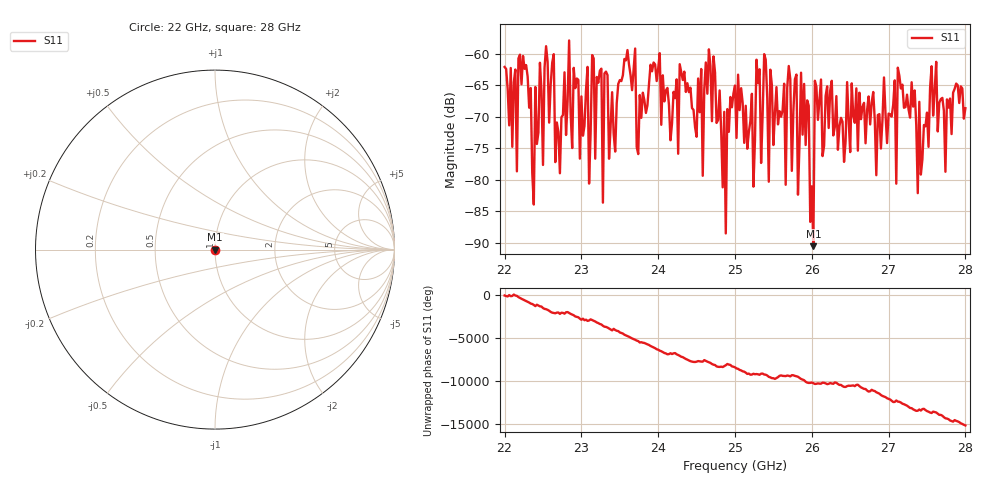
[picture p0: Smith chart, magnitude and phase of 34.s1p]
#  HZ  S  RI  R  50.00
! Rohde & Schwarz ZVA40 4Ports - Version 3.90 - 1145.1110k42 SN: 100403
! Date: 2023-10-04 09:25:40
! Measurement: S12
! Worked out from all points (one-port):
!   301 points, 22 GHz to 28 GHz, reference 50 ohm
!   lowest |S11| = -90.5 dB at 26.02 GHz (marker M1), VSWR 1.00, Z = 50 - j0.000437 ohm
!   |S11| at or under -10 dB: start of sweep to end of sweep
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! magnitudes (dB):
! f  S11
! 22 GHz  -62.1
! 22.14 GHz  -62.5
! 22.16 GHz  -78.7
! 22.2 GHz  -60.1
! 22.38 GHz  -83.9
! 22.54 GHz  -58.8
! 22.76 GHz  -69.7
! 23.08 GHz  -62.1
! 23.1 GHz  -80.6
! 23.14 GHz  -60.2
! 23.18 GHz  -76.6
! 23.26 GHz  -62.4
! 23.28 GHz  -83.6
! 23.3 GHz  -63.1
! 23.5 GHz  -64.2
! 24.26 GHz  -75.9
! 24.28 GHz  -61.7
! 24.56 GHz  -62.4
! 24.58 GHz  -79.4
! 24.66 GHz  -59.3
! 24.84 GHz  -81.2
! 25 GHz  -65.0
! 25.76 GHz  -69.1
! 26.02 GHz  -90.5
! 26.04 GHz  -64.3
! 26.5 GHz  -75.6
! 27.26 GHz  -68.9
! 28 GHz  -68.6
